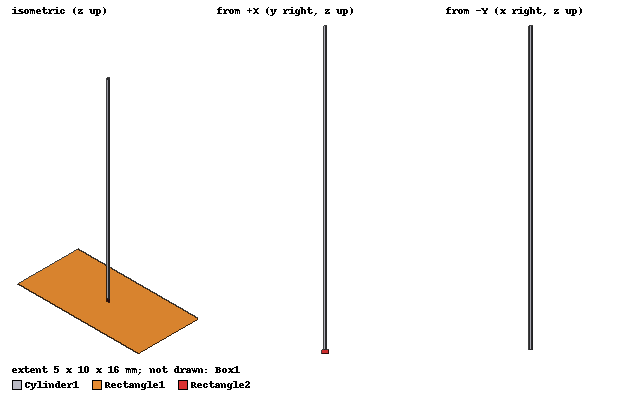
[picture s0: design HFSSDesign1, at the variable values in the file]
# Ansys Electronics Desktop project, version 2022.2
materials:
  vacuum: permittivity=1
  pec: conductivity=1e+30
  air: permittivity=1.0006 permeability=1.0000004

design HFSSDesign1 (HFSS, DrivenModal, model units mm)
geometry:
  Cylinder1 [pec] = cylinder(axis=Z, base_centre=(0mm, 0mm, 0.2mm), radius=0.08mm, height=15.8mm)
  Rectangle1 [pec] = rectangle(corner=(-2.5mm, -5mm, 0mm), x_size=5mm, y_size=10mm)
  Box1 [air] = box(corner=(-9mm, -15mm, -4.5mm), size=(20mm, 30mm, 50mm))
  Rectangle2 [pec] = rectangle(corner=(0mm, -0.15mm, 0.2mm), y_size=0.3mm, z_size=-0.2mm)
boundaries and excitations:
  PerfE1: Perfect E Objects=Rectangle1
  Rad1: Radiation Objects=Box1
  1: Lumped Port Objects=Rectangle2 Modes{Mode1{IntLine{(0, 0, 0) -> (0, 0, 0.2)} CharImp=Zpi RenormImp=50ohm}} Impedance=50ohm
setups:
  Setup1: HfssDriven Frequency=5GHz MaxDeltaS=0.02 MaximumPasses=20 MinimumPasses=1 MinimumConvergedPasses=1 PercentRefinement=30 BasisOrder=1 PortAccuracy=2 DrivenSolverType="Direct Solver"
    sweep Sweep: 2.5GHz to 7.5GHz, 200 points; Type=Fast SaveFields
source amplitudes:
  1:1: 1W 0deg
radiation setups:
  Infinite Sphere1: Infinite Sphere Theta=0deg..360deg step 10deg Phi=0deg..180deg step 10deg
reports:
  S Parameter Plot 1: dB(S(1,1)) vs Freq on Setup1 : Sweep
  Gain Plot 1: dB(GainTotal) vs Phi, Theta on Setup1 : LastAdaptive, Infinite Sphere1 [Freq=5GHz]
  S Parameter Plot 2: dB(S(1,1)) vs Freq on Setup1 : Sweep
  S Parameter Plot 3: dB(S(1,1)) vs Freq on Setup1 : Sweep
  S Parameter Plot 4: dB(S(1,1)) vs Freq on Setup1 : Sweep
  S Parameter Plot 5: dB(S(1,1)) vs Freq on Setup1 : Sweep
  S Parameter Plot 6: dB(S(1,1)) vs Freq on Setup1 : Sweep
  S Parameter Plot 7: dB(S(1,1)) vs Freq on Setup1 : Sweep
  S Parameter Plot 8: dB(S(1,1)) vs Freq on Setup1 : Sweep
  S Parameter Plot 9: dB(S(1,1)) vs Freq on Setup1 : Sweep
  S Parameter Plot 10: dB(S(1,1)) vs Freq on Setup1 : Sweep
  S Parameter Plot 11: dB(S(1,1)) vs Freq on Setup1 : Sweep; markers m1 at 3.781407GHz, m2 at 3.7562814GHz, m3 at 6.8969849GHz, MX1 at x=5.3720238e+09, MY1 at y=-3.84615, MY2 at y=-9.87526
  Gain Plot 2: GainTotal vs Phi, Theta on Setup1 : LastAdaptive, Infinite Sphere1 [Freq=5GHz]
  Gain Plot 3: dB(GainTotal) vs Phi, Theta on Setup1 : LastAdaptive, Infinite Sphere1 [Freq=5GHz]
